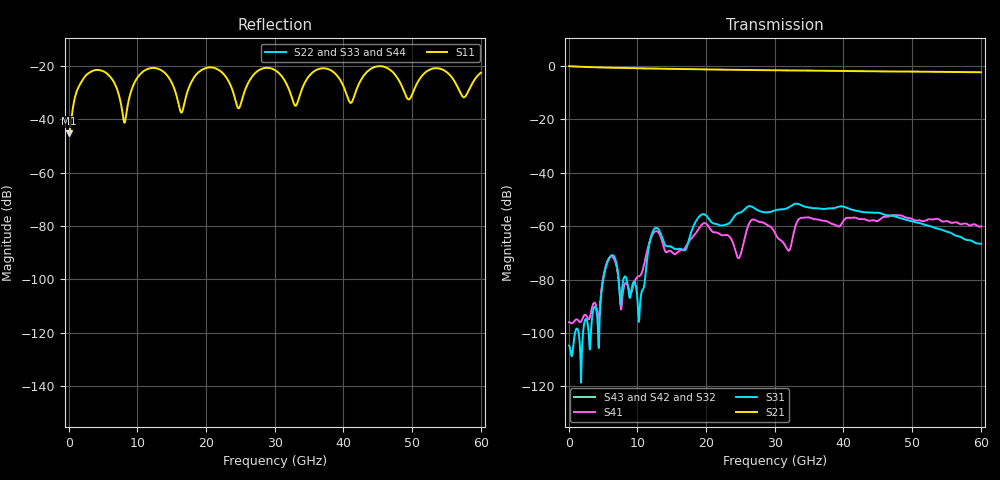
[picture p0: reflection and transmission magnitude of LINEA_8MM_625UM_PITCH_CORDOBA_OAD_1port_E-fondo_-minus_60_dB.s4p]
! TOUCHSTONE file generated by CST MICROWAVE STUDIO
! Date and time: Wed Nov  4 14:42:19 2026
! Project name: LINEA_8MM_625UM_PITCH_CORDOBA_OAD_1port_E-fondo -minus 60 dB.cst
! Parameters = {CHANNEL_PITCH=0.625; GAP=0.00415; L=8; L1=0.02; L2=0.086; L3=0.066; NCELL=1; PITCH=0.18; START_POSITION=0.13; W1=0.003; W2=0.004; W3=0.009; WG=0.04985; gap_oxr=0.00125; linbo3_thickness=0.0002; mtx=0.002; oxiDinE=0.0014; w=0.185; ws=0.035}
! Header version: 2024
! Port assignment regex: !\s*Touchstone port\s*([0-9]+)\s*=\s*(CST MWS port|CST DES external port|CST DES block port)\s*(.+)\s* \(\"(.*)\"\)(\s*mode\s*([0-9]+))?.*
! Touchstone port assignment:
! Touchstone port 1 = CST MWS port 1 ("")
! Touchstone port 2 = CST MWS port 2 ("")
! Touchstone port 3 = CST MWS port 3 ("")
! Touchstone port 4 = CST MWS port 4 ("")
# GHz S MA R 50
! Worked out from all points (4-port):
!   1000 points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, 60 MHz to 60 GHz, reference 50 ohm
!   strongest paths, dB at 60 MHz, 15.06 GHz, 30.06 GHz, 45.06 GHz, 60 GHz:
!     S21: 0.0, -1.1, -1.6, -2.0, -2.3
!     S31: -104.7, -67.9, -54.0, -54.9, -66.6
!     S41: -95.9, -69.8, -62.7, -57.9, -60.0
!     S43: -, -, -, -, -
!     S42: -, -, -, -, -
!     S32: -, -, -, -, -
!   lowest |S11| = -45.3 dB at 60 MHz (marker M1), VSWR 1.01, Z = 50.5 - j0.0154 ohm
!   |S11| at or under -10 dB: start of sweep to end of sweep
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0.06  0.005462 -1.6  0 0.0  0 0.0  0 0.0
      0.9944 -1.4  0 0.0  0 0.0  0 0.0
      5.849e-06 -12.8  0 0.0  0 0.0  0 0.0
      1.595e-05 163.5  0 0.0  0 0.0  0 0.0
7.98  0.009863 170.9  0 0.0  0 0.0  0 0.0
      0.9207 -174.6  0 0.0  0 0.0  0 0.0
      0.0001025 13.3  0 0.0  0 0.0  0 0.0
      6.801e-05 -164.8  0 0.0  0 0.0  0 0.0
16.56  0.01417 -145.8  0 0.0  0 0.0  0 0.0
       0.8806 1.1  0 0.0  0 0.0  0 0.0
       0.0003637 -3.4  0 0.0  0 0.0  0 0.0
       0.0003572 -37.1  0 0.0  0 0.0  0 0.0
24.72  0.01589 -166.3  0 0.0  0 0.0  0 0.0
       0.8511 -173.5  0 0.0  0 0.0  0 0.0
       0.001765 -29.1  0 0.0  0 0.0  0 0.0
       0.0002519 10.8  0 0.0  0 0.0  0 0.0
33.36  0.02137 -134.1  0 0.0  0 0.0  0 0.0
       0.8259 1.7  0 0.0  0 0.0  0 0.0
       0.002633 -106.3  0 0.0  0 0.0  0 0.0
       0.001288 23.4  0 0.0  0 0.0  0 0.0
41.34  0.02247 -134.8  0 0.0  0 0.0  0 0.0
       0.8061 -168.9  0 0.0  0 0.0  0 0.0
       0.002021 -137.2  0 0.0  0 0.0  0 0.0
       0.00145 151.8  0 0.0  0 0.0  0 0.0
60  0.07395 -124.7  0 0.0  0 0.0  0 0.0
    0.7654 151.7  0 0.0  0 0.0  0 0.0
    0.0004678 -3.5  0 0.0  0 0.0  0 0.0
    0.0009994 73.7  0 0.0  0 0.0  0 0.0
